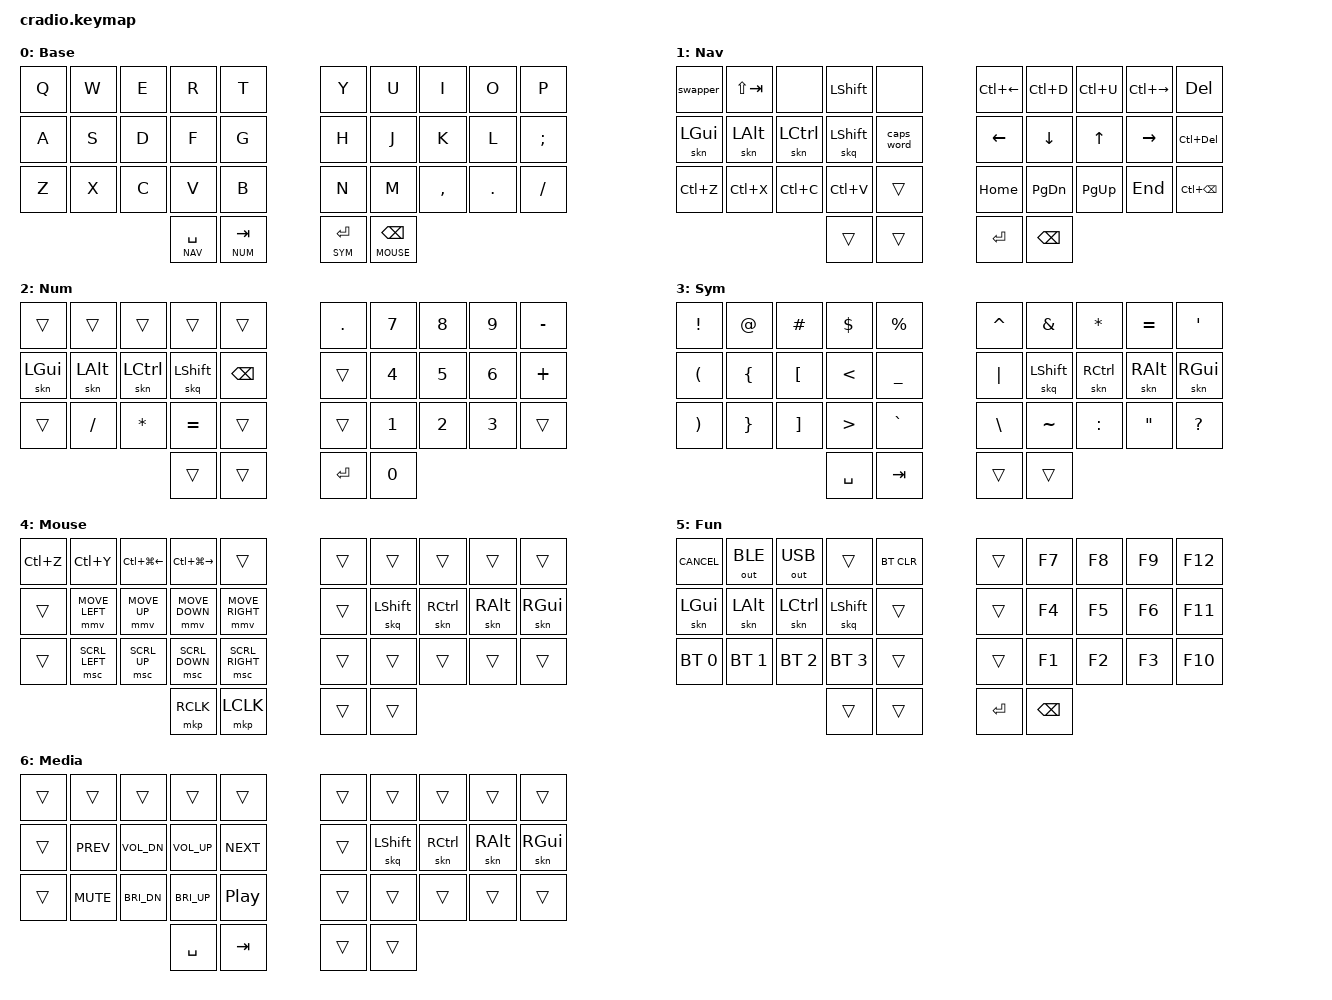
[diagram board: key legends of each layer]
#include <behaviors.dtsi>
#include <dt-bindings/zmk/keys.h>
#include <dt-bindings/zmk/bt.h>
#include <dt-bindings/zmk/outputs.h>

#define ZMK_POINTING_DEFAULT_MOVE_VAL 1500
#define ZMK_POINTING_DEFAULT_SCRL_VAL 20
#include <dt-bindings/zmk/pointing.h>

#define BASE  0
#define NAV   1
#define NUM   2
#define SYM   3
#define MOUSE 4
#define FUN   5
#define MEDIA 6

&mmv {
    acceleration-exponent = <1>;
    time-to-max-speed-ms = <500>;
    delay-ms = <0>;
};

&msc {
    acceleration-exponent = <1>;
    time-to-max-speed-ms = <500>;
    delay-ms = <0>;
};

&caps_word {
    continue-list = <UNDERSCORE MINUS>;
};

/ {
    behaviors {
        skq: sticky_key_quick_release {
            compatible = "zmk,behavior-sticky-key";
            #binding-cells = <1>;
            bindings = <&kp>;
            release-after-ms = <1000>;
            quick-release;
            ignore-modifiers;
        };

        skn: sticky_key_normal {
            compatible = "zmk,behavior-sticky-key";
            #binding-cells = <1>;
            bindings = <&kp>;
            release-after-ms = <1000>;
            ignore-modifiers;
        };

        tlt: thumb_layer_tap {
            compatible = "zmk,behavior-hold-tap";
            #binding-cells = <2>;
            flavor = "balanced";
            tapping-term-ms = <200>;
            quick-tap-ms = <150>;
            bindings = <&mo>, <&kp>;
        };
    };

    macros {
        swapper: swapper {
            compatible = "zmk,behavior-macro";
            #binding-cells = <0>;
            wait-ms = <30>;
            tap-ms = <30>;
            bindings
                = <&macro_press &kp LALT>
                , <&macro_tap &kp TAB>
                , <&macro_pause_for_release>
                , <&macro_release &kp LALT>
                ;
        };
    };

    combos {
        compatible = "zmk,combos";

        // S + D = Escape
        combo_esc {
            timeout-ms = <50>;
            key-positions = <11 12>;
            bindings = <&kp ESC>;
            layers = <BASE>;
            require-prior-idle-ms = <200>;
        };

        // F + J = Caps Word
        combo_caps_word {
            timeout-ms = <50>;
            key-positions = <13 16>;
            bindings = <&caps_word>;
            layers = <BASE>;
            require-prior-idle-ms = <200>;
        };

        // J + K = LSHFT
        combo_lshft {
            timeout-ms = <50>;
            key-positions = <16 17>;
            bindings = <&kp LSHFT>;
            layers = <BASE>;
            require-prior-idle-ms = <150>;
        };

        // 左双拇指 = FUN 层 (对应 Lily58 的 SPACE+TAB combo)
        combo_fun_layer {
            timeout-ms = <50>;
            key-positions = <30 31>;
            bindings = <&mo FUN>;
            layers = <BASE>;
        };

        // 右双拇指 = MEDIA 层 (对应 Lily58 的 ENTER+BSPC combo)
        combo_media_layer {
            timeout-ms = <50>;
            key-positions = <32 33>;
            bindings = <&mo MEDIA>;
            layers = <BASE>;
        };
    };

    keymap {
        compatible = "zmk,keymap";

        default_layer {
            display-name = "Base";
// ┌─────┬─────┬─────┬─────┬─────┐   ┌─────┬─────┬─────┬─────┬─────┐
// │  Q  │  W  │  E  │  R  │  T  │   │  Y  │  U  │  I  │  O  │  P  │
// ├─────┼─────┼─────┼─────┼─────┤   ├─────┼─────┼─────┼─────┼─────┤
// │  A  │  S  │  D  │  F  │  G  │   │  H  │  J  │  K  │  L  │  ;  │
// ├─────┼─────┼─────┼─────┼─────┤   ├─────┼─────┼─────┼─────┼─────┤
// │  Z  │  X  │  C  │  V  │  B  │   │  N  │  M  │  ,  │  .  │  /  │
// └─────┴─────┴─────┼─────┼─────┤   ├─────┼─────┼─────┴─────┴─────┘
//                   │SPACE│ TAB │   │ENTER│BSPC │
//                   │(NAV)│(NUM)│   │(SYM)│(MOU)│
//                   └─────┴─────┘   └─────┴─────┘
            bindings = <
&kp Q  &kp W  &kp E  &kp R  &kp T       &kp Y  &kp U  &kp I      &kp O    &kp P
&kp A  &kp S  &kp D  &kp F  &kp G       &kp H  &kp J  &kp K      &kp L    &kp SEMI
&kp Z  &kp X  &kp C  &kp V  &kp B       &kp N  &kp M  &kp COMMA  &kp DOT  &kp FSLH
              &tlt NAV SPACE  &tlt NUM TAB       &tlt SYM RET  &tlt MOUSE BSPC
            >;
        };

        nav_layer {
            display-name = "Nav";
// ┌─────┬─────┬─────┬─────┬─────┐   ┌─────┬─────┬─────┬─────┬─────┐
// │ SWP │S-TAB│none │LSHFT│none │   │C(←) │ C-D │ C-U │C(→) │ DEL │
// ├─────┼─────┼─────┼─────┼─────┤   ├─────┼─────┼─────┼─────┼─────┤
// │ GUI │ ALT │CTRL │LSHFT│CAPW │   │  ←  │  ↓  │  ↑  │  →  │C(DEL)│
// ├─────┼─────┼─────┼─────┼─────┤   ├─────┼─────┼─────┼─────┼─────┤
// │C(Z) │C(X) │C(C) │C(V) │  ME │PgDn │PgUp │ END │C(BS)│
// └─────┴─────┴─────┼─────┼─────┤   ├─────┼─────┼─────┴─────┴─────┘
//                   │▓▓▓▓▓│     │   │     │     │
//                   └─────┴─────┘   └─────┴─────┘
            bindings = <
&swapper   &kp LS(TAB)  &none    &kp LSHFT  &none       &kp LC(LEFT) &kp LC(D)  &kp LC(U)  &kp LC(RIGHT) &kp DEL
&skn LGUI  &skn LALT    &skn LCTRL &skq LSHFT &caps_word      &kp LEFT     &kp DOWN   &kp UP     &kp RIGHT     &kp LC(DEL)
&kp LC(Z)  &kp LC(X)    &kp LC(C)  &kp LC(V)  &trans          &kp HOME     &kp PG_DN  &kp PG_UP  &kp END       &kp LC(BSPC)
                                    &trans     &trans          &kp RET       &kp BSPC
            >;
        };

        num_layer {
            display-name = "Num";
// ┌─────┬─────┬─────┬─────┬─────┐   ┌─────┬─────┬─────┬─────┬─────┐
// │     │     │     │     │     │   │  .  │  7  │  8  │  9  │  -  │
// ├─────┼─────┼─────┼─────┼─────┤   ├─────┼─────┼─────┼─────┼─────┤
// │ GUI │ ALT │CTRL │LSHFT│BSPC │   │     │  4  │  5  │  6  │  +  │
// ├─────┼─────┼─────┼─────┼─────┤   ├─────┼─────┼─────┼─────┼─────┤
// │     │  /  │  *  │  =  │     │   │     │  1  │  2  │  3  │     │
// └─────┴─────┴─────┼─────┼─────┤   ├─────┼─────┼─────┴─────┴─────┘
//                   │     │▓▓▓▓▓│   │     │  0  │
//                   └─────┴─────┘   └─────┴─────┘
            bindings = <
&trans     &trans     &trans      &trans     &trans          &kp DOT   &kp N7  &kp N8  &kp N9  &kp MINUS
&skn LGUI  &skn LALT  &skn LCTRL  &skq LSHFT &kp BSPC       &trans    &kp N4  &kp N5  &kp N6  &kp PLUS
&trans     &kp FSLH   &kp ASTRK   &kp EQUAL  &trans          &trans    &kp N1  &kp N2  &kp N3  &trans
                                   &trans     &trans          &kp RET    &kp N0
            >;
        };

        sym_layer {
            display-name = "Sym";
// ┌─────┬─────┬─────┬─────┬─────┐   ┌─────┬─────┬─────┬─────┬─────┐
// │  !  │  @  │  #  │  $  │  %  │   │  ^  │  &  │  *  │  =  │  '  │
// ├─────┼─────┼─────┼─────┼─────┤   ├─────┼─────┼─────┼─────┼─────┤
// │  (  │  {  │  [  │  <  │  _  │   │  |  │LSHFT│CTRL │ ALT │ GUI │
// ├─────┼─────┼─────┼─────┼─────┤   ├─────┼─────┼─────┼─────┼─────┤
// │  )  │  }  │  ]  │  >  │  `  │   │  \  │  ~  │  :  │  "  │  ?  │
// └─────┴─────┴─────┼─────┼─────┤   ├─────┼─────┼─────┴─────┴─────┘
//                   │     │     │   │▓▓▓▓▓│     │
//                   └─────┴─────┘   └─────┴─────┘
            bindings = <
&kp EXCL  &kp AT    &kp HASH  &kp DLLR  &kp PRCNT      &kp CARET  &kp AMPS    &kp ASTRK   &kp EQUAL  &kp SQT
&kp LPAR  &kp LBRC  &kp LBKT  &kp LT    &kp UNDER      &kp PIPE   &skq LSHFT  &skn RCTRL  &skn RALT  &skn RGUI
&kp RPAR  &kp RBRC  &kp RBKT  &kp GT    &kp GRAVE      &kp BSLH   &kp TILDE   &kp COLON   &kp DQT    &kp QMARK
                               &kp SPACE    &kp TAB          &trans     &trans
            >;
        };

        mouse_layer {
            display-name = "Mouse";
// ┌─────┬─────┬─────┬─────┬─────┐   ┌─────┬─────┬─────┬─────┬─────┐
// │UNDO │REDO │VD_L │VD_R │     │   │     │     │     │     │     │
// ├─────┼─────┼─────┼─────┼─────┤   ├─────┼─────┼─────┼─────┼─────┤
// │     │ ML  │ MU  │ MD  │ MR  │   │     │LSHFT│CTRL │ ALT │ GUI │
// ├─────┼─────┼─────┼─────┼─────┤   ├─────┼─────┼─────┼─────┼─────┤
// │     │WH_L │WH_U │WH │   │     │     │     │     │     │
// └─────┴─────┴─────┼─────┼─────┤   ├─────┼─────┼─────┴─────┴─────┘
//                   │RCLK │LCLK │   │     │▓▓▓▓▓│
//                   └─────┴─────┘   └─────┴─────┘
// 注: Lily58 拇指有 MCLK(中键), Sweep 只有 2 拇指键放不下
// 注: Lily58 行3右手有 Snipe/Turbo 层切换, Sweep 未移植
            bindings = <
&kp LC(Z)  &kp LC(Y)      &kp LC(LG(LEFT)) &kp LC(LG(RIGHT)) &trans              &trans  &trans     &trans     &trans    &trans
&trans     &mmv MOVE_LEFT &mmv MOVE_UP     &mmv MOVE_DOWN     &mmv MOVE_RIGHT     &trans  &skq LSHFT &skn RCTRL &skn RALT &skn RGUI
&trans     &msc SCRL_LEFT &msc SCRL_UP     &msc SCRL_DOWN     &msc SCRL_RIGHT     &trans  &trans     &trans     &trans    &trans
                                            &mkp RCLK          &mkp LCLK           &trans  &trans
            >;
        };

        fun_layer {
            display-name = "Fun";
// ┌─────┬─────┬─────┬─────┬─────┐   ┌─────┬─────┬─────┬─────┬─────┐
// │CANCL│ BLE │ USB │     │BTCLR│   │     │ F7  │ F8  │ F9  │ F12 │
// ├─────┼─────┼─────┼─────┼─────┤   ├─────┼─────┼─────┼─────┼─────┤
// │ GUI │ ALT │CTRL │LSHFT│     │   │     │ F4  │ F5  │ F6  │ F11 │
// ├─────┼─────┼─────┼─────┼─────┤   ├─────┼─────┼─────┼─────┼─────┤
// │ BT0 │ BT1 │ BT2 │ BT3 │     │   │     │ F1  │ F2  │ F3  │ F10 │
// └─────┴─────┴─────┼─────┼─────┤   ├─────┼─────┼─────┴─────┴─────┘
//                   │     │     │   │     │     │
//                   └─────┴─────┘   └─────┴─────┘
            bindings = <
&kp K_CANCEL  &out OUT_BLE  &out OUT_USB  &trans        &bt BT_CLR       &trans  &kp F7  &kp F8  &kp F9  &kp F12
&skn LGUI     &skn LALT     &skn LCTRL    &skq LSHFT    &trans            &trans  &kp F4  &kp F5  &kp F6  &kp F11
&bt BT_SEL 0  &bt BT_SEL 1  &bt BT_SEL 2  &bt BT_SEL 3  &trans           &trans  &kp F1  &kp F2  &kp F3  &kp F10
                                           &trans        &trans           &kp RET  &kp BSPC
            >;
        };

        media_layer {
            display-name = "Media";
// ┌─────┬─────┬─────┬─────┬─────┐   ┌─────┬─────┬─────┬─────┬─────┐
// │     │     │     │     │     │   │     │     │     │     │     │
// ├─────┼─────┼─────┼─────┼─────┤   ├─────┼─────┼─────┼─────┼─────┤
// │     │PREV │VOL_D│VOL_U│NEXT │   │     │LSHFT│CTRL │ ALT │ GUI │
// ├─────┼─────┼─────┼─────┼─────┤   ├─────┼─────┼─────┼─────┼─────┤
// │     │MUTE │BRI_D│BRI_U│PLAY │   │     │     │     │     │     │
// └─────┴─────┴─────┼─────┼─────┤   ├─────┼─────┼─────┴─────┴─────┘
//                   │     │     │   │     │     │
//                   └─────┴─────┘   └─────┴─────┘
            bindings = <
&trans  &trans      &trans       &trans       &trans          &trans  &trans     &trans     &trans    &trans
&trans  &kp C_PREV  &kp C_VOL_DN &kp C_VOL_UP &kp C_NEXT     &trans  &skq LSHFT &skn RCTRL &skn RALT &skn RGUI
&trans  &kp C_MUTE  &kp C_BRI_DN &kp C_BRI_UP &kp C_PP       &trans  &trans     &trans     &trans    &trans
                                 &kp SPACE    &kp TAB          &trans  &trans
            >;
        };
    };
};
